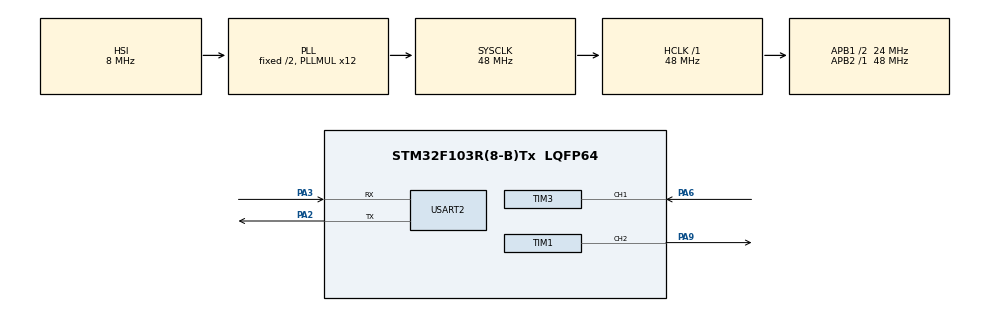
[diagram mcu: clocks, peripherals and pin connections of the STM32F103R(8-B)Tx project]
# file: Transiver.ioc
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Mcu.Family=STM32F1
Mcu.Name=STM32F103R(8-B)Tx
Mcu.Package=LQFP64
NVIC.PriorityGroup=NVIC_PRIORITYGROUP_4
NVIC.TIM3_IRQn=true\:0\:0\:false\:false\:true\:true\:true
PA2.Mode=Asynchronous
PA2.Signal=USART2_TX
PA3.Mode=Asynchronous
PA3.Signal=USART2_RX
PA6.Signal=S_TIM3_CH1
PA9.Signal=S_TIM1_CH2
ProjectManager.HeapSize=0x200
ProjectManager.StackSize=0x400
ProjectManager.TargetToolchain=STM32CubeIDE
RCC.AHBFreq_Value=48000000
RCC.APB1CLKDivider=RCC_HCLK_DIV2
RCC.APB1Freq_Value=24000000
RCC.APB1TimFreq_Value=48000000
RCC.APB2Freq_Value=48000000
RCC.APB2TimFreq_Value=48000000
RCC.HCLKFreq_Value=48000000
RCC.PLLMUL=RCC_PLL_MUL12
RCC.SYSCLKFreq_VALUE=48000000
RCC.SYSCLKSource=RCC_SYSCLKSOURCE_PLLCLK
RCC.USBFreq_Value=48000000
SH.S_TIM1_CH2.0=TIM1_CH2,PWM Generation2 CH2
SH.S_TIM3_CH1.0=TIM3_CH1,Input_Capture1_from_TI1
TIM1.Channel-PWM\ Generation2\ CH2=TIM_CHANNEL_2
TIM1.Prescaler=1-1
TIM2.Prescaler=1-1
TIM3.Channel-Input_Capture1_from_TI1=TIM_CHANNEL_1
TIM3.Channel-Input_Capture2_from_TI1_63=TIM_CHANNEL_2
TIM3.ICPolarity_CH1=TIM_INPUTCHANNELPOLARITY_FALLING
TIM3.Prescaler=1-1
USART2.VirtualMode=VM_ASYNC
VP_SYS_VS_ND.Mode=No_Debug
VP_TIM1_VS_ClockSourceINT.Mode=Internal
VP_TIM2_VS_ClockSourceINT.Mode=Internal
VP_TIM3_VS_ClockSourceINT.Mode=Internal
VP_TIM3_VS_indirect_ch1.Mode=Input_Capture2_from_TI1_63
board=custom

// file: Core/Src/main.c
/* USER CODE BEGIN Header */
/**
 ******************************************************************************
 * @file           : main.c
 * @brief          : Main program body
 ******************************************************************************
 * @attention
 *
 * Copyright (c) 2022 STMicroelectronics.
 * All rights reserved.
 *
 * This software is licensed under terms that can be found in the LICENSE file
 * in the root directory of this software component.
 * If no LICENSE file comes with this software, it is provided AS-IS.
 *
 ******************************************************************************
 */
/* USER CODE END Header */
#include "main.h"

/* USER CODE BEGIN Includes */
#include <string.h>
#include <stdlib.h>

/* USER CODE END Includes */

/* USER CODE BEGIN PD */
#define T 5000
#define COUNTER 5000
#define SYN 22
#define ACK 6

/* USER CODE END PD */

TIM_HandleTypeDef htim1;
TIM_HandleTypeDef htim2;
TIM_HandleTypeDef htim3;

UART_HandleTypeDef huart2;

void SystemClock_Config(void);
static void MX_GPIO_Init(void);
static void MX_TIM1_Init(void);
static void MX_TIM2_Init(void);
static void MX_USART2_UART_Init(void);
static void MX_TIM3_Init(void);
/* USER CODE BEGIN PFP */

void output(char *string) {
	char *buf = string;
	HAL_UART_Transmit(&huart2, (uint8_t*) buf, strlen(buf), 100);
}

/*
 * <------------- TRANSIVER CODE ----------------->
 */

void togglepin(uint8_t value);
void delay(int delay);

void dec_to_bin(char ch) {
	for (char div = 128; div > 0; div /= 2) {
		if (ch >= div) {    // 1
			ch -= div;
			togglepin(1);
//			output("1");
		} else {
			togglepin(0);
//			output("0");
		}
	}
	delay(T);
}

// This function provides delay (in 20 nanoseconds)
void delay(int delay) {
	if (delay > 0xFFFF)
		delay = 0xFFFF;
	(&htim2)->Instance->CNT = 0;
	while ((&htim2)->Instance->CNT < delay)
		;
}

void togglepin(uint8_t value) {
	//	turning off pin
	TIM1->CCR2 = 0;
	TIM1->CNT = COUNTER;
	if (value == 1) {
		delay(T * 0.8);
		//	turning on pin
		TIM1->CCR2 = COUNTER + 1;
		TIM1->CNT = COUNTER;
		delay(T * 0.2);
	} else if (value == 0) {
		delay(T * 0.2);
		//	turning on pin
		TIM1->CCR2 = COUNTER + 1;
		TIM1->CNT = COUNTER;
		delay(T * 0.8);
	} else
		return;
}

/*
 * <-------------------- END TRANSIVER CODE ----------->
 */

/*
 * <-------------------- RECIVER CODE ----------------->
 */

int byte[2] = { 0 };
int byte_count = 0;
// use in CaptureCallback, PeriodElepsed and other functions
int callback_count = 0;
int bit_count = 0;
int *bit;

/*
 * SYN -->
 * SYN, ACK <--
 * ACK -->
 */
int connect(void) {

	int connection = 0;
	dec_to_bin(SYN);
	output("First transmission\r\n");
	delay(10 * T);

	// Turning off transmitter timers
	HAL_TIM_PWM_Stop(&htim1, TIM_CHANNEL_2);

	// Turning on receive timers
	TIM3->ARR = T;
	HAL_TIM_IC_Start_IT(&htim3, TIM_CHANNEL_1);
	HAL_TIM_IC_Start_IT(&htim3, TIM_CHANNEL_2);
	HAL_TIM_Base_Start_IT(&htim3);

	delay(10 * T);

	// wait time for 2 byte -> 20 T
	// to take SYN and ACK from receiver
	for (int i = 0; byte_count < 2 && i < 20; i++) {
		delay(T);
	}

//	char buf[128] = { 0 };
//	sprintf(buf, "%d - byte\r\n", byte_count);
//	HAL_UART_Transmit(&huart2, buf, strlen(buf), -1);

	// Turning off reciver timers
	HAL_TIM_IC_Stop_IT(&htim3, TIM_CHANNEL_1);
	HAL_TIM_IC_Stop_IT(&htim3, TIM_CHANNEL_2);
	HAL_TIM_Base_Stop_IT(&htim3);
	delay(10 * T);

	// Turning on transive timers
	TIM1->CCR2 = COUNTER + 1;
	TIM1->CNT = COUNTER;
	HAL_TIM_PWM_Start(&htim1, TIM_CHANNEL_2);
	delay(10 * T);

	if (byte[0] == SYN && byte[1] == ACK) {
		byte_count = 0;
		byte[0] = byte[1] = 0;
		connection = 1;
		output("Device connected\r\n");
		dec_to_bin(ACK);
	} else {
		byte_count = 0;
		byte[0] = byte[1] = 0;
		output("Connection was failed\r\n");
		connection = 0;
	}
	delay(10 * T);
	return connection;
}

void HAL_TIM_IC_CaptureCallback(TIM_HandleTypeDef *htim) {
	if (htim == &htim3) {
		int falling_edge = 0;
		int rising_edge = 0;
//		char buf_1[128] = { 0 };
//		output("from callback");

		callback_count += 1;

		falling_edge = HAL_TIM_ReadCapturedValue(&htim3, TIM_CHANNEL_1);
		rising_edge = HAL_TIM_ReadCapturedValue(&htim3, TIM_CHANNEL_2);
//		sprintf(buf_1, "r - %d f - %d c - %d\r\n", rising_edge, falling_edge, callback_count);
//		HAL_UART_Transmit(&huart2, &buf_1, strlen(buf_1), -1);
		if (callback_count % 2 != 0 && callback_count != 1) {
			int period = rising_edge + falling_edge;
			if (period < T * 1.2 && period > T * 0.8) { // 10% gap for period
//				char buf_2[128] = { 0 };
//				sprintf(buf_2, "r - %d\r\n", rising_edge);
//				HAL_UART_Transmit(&huart2, &buf_2, strlen(buf_2), -1);
				bit[bit_count] = rising_edge;
			}
			bit_count += 1;
		}
		TIM3->CNT = 0;
		TIM2->CNT = 0;
	}
}

void HAL_TIM_PeriodElapsedCallback(TIM_HandleTypeDef *htim) {
	if (htim == &htim3) { // reading last bite of byte
//		output("In elapse\r\n");
		if (bit_count == 7 && callback_count > 1) {
			char buf[64] = { 0 };
//			output("In elapse\r\n");

//			sprintf(buf, "r - %d\r\n", HAL_TIM_ReadCapturedValue(&htim2, TIM_CHANNEL_2));
//			HAL_UART_Transmit(&huart2, &buf, strlen(buf), -1);

			bit[bit_count] = HAL_TIM_ReadCapturedValue(&htim3, TIM_CHANNEL_2);
			display_pwm_information(bit);

			bit_count = 0;
			callback_count = 0;
//			connect = 1;
		} else if (callback_count > 1 && bit_count < 7) { // when caught less then 8 bit before IDEL give message about lost bytes
			output("#LOST BYTE#");
			if (callback_count % 2 != 0) {
				output("_1_\r\n"); // start_finish_connection
				bit_count = 0;
				callback_count = 0;
//				start_finish_connection();
			} else {
				bit_count = 0;
				callback_count = 0;
			}
		} else if (callback_count == 1) { // turning on/off transiver state of channel change 0V -> 3.3V / 3.3V -> 0V
			output("_2_\r\n"); // start_finish_connection
			bit_count = 0;
			callback_count = 0;
//			start_finish_connection();
		} else
			// TIM run function every period ending
			return;
	}
}

char rises_to_char(int*);

/* function display information from pwm signal to user with UART
 *
 * receives int array contain 8 rising times
 * convert rising times to char and display it
 *
 */

void display_pwm_information(int *bit) {
	byte[byte_count] = rises_to_char(bit);
	byte_count += 1;
//	HAL_UART_Transmit(&huart2, (uint8_t*) &ch, 1, -1);
}

/* function return char from 8 rising times array
 * bit - pointer to 8 rising times array contain 8 bits
 * If rising time more then 50% period then this is a 1, else 0
 */
char rises_to_char(int *bit) {
	char c = 0;
	for (int i = 0, rank = 128; i < 8 && rank > 0; i++, rank /= 2) {
		if (bit[i] > T * 0.5)
			c += rank;
	}
	return c;
}

/*
 * <-------------------- END RECIVER CODE ----------->
 */

/* USER CODE END PFP */

int main(void) {

	/* MCU Configuration--------------------------------------------------------*/

	/* Reset of all peripherals, Initializes the Flash interface and the Systick. */
	HAL_Init();

	/* Configure the system clock */
	SystemClock_Config();

	/* Initialize all configured peripherals */
	MX_GPIO_Init();
	MX_TIM1_Init();
	MX_TIM2_Init();
	MX_USART2_UART_Init();
	MX_TIM3_Init();
	/* USER CODE BEGIN 2 */

	// channel state 0V
	TIM1->ARR = COUNTER;
	TIM1->CCR2 = 0;

	HAL_TIM_PWM_Start(&htim1, TIM_CHANNEL_2);

	HAL_TIM_Base_Start(&htim2);

	/* USER CODE END 2 */

	/* Infinite loop */
	/* USER CODE BEGIN WHILE */
//	char buf[] = "Hello\r\n";
	char buf[] = "Hello world!\r\nBetter late than never\r\n"
			"Hang in there\r\nMake a long story short\r\n"
			"Good things come to those who wait\r\n"
			"\r\n\nThe machines rose from the ashes of the nuclear fire.\r\n"
			"Their war to exterminate mankind has raged for decades,\r\n"
			"but the final battle would not be fought in the future.\r\n"
			"It would be fought here, in our present. Tonight.\r\n";
	//  Hang in there\r\nMake a long story short\r\n
//	char enter[] = "\r\n\n";
//	char ch = 'l';

	output("I'm still alive\r\n\n");

	bit = calloc(8, sizeof(int));
	if (bit == NULL) {
		char exit[] = "Memory end\r\n";
		HAL_UART_Transmit(&huart2, (uint8_t*) exit, strlen(exit), -1);
		return 1;
	}

	HAL_Delay(1000);

	int connection = 0;

	while (1) {

//		 turning on channel
		// channel state 0V -> 3.3V
		TIM1->CCR2 = COUNTER + 1;
		TIM1->CNT = COUNTER;
		HAL_Delay(1000);
		while (connection != 1) {
			connection = connect();
			HAL_Delay(100);
		}

		output("Start transmission\r\n");
		HAL_Delay(1000);
//		HAL_UART_Transmit(&huart2, &buf, strlen(buf), -1);
		// information transmission
		for (int i = 0; i < strlen(buf); i++) {
			dec_to_bin(buf[i]);
		}
		// end of data transmission channel state still 3.3V
		HAL_Delay(1000);

		// turning off channel 3.3V -> 0V
		TIM1->CCR2 = 0;
		TIM1->CNT = COUNTER;
		connection = 0;
		HAL_Delay(1000);

		/* USER CODE END WHILE */

	}
}

void SystemClock_Config(void) {
	RCC_OscInitTypeDef RCC_OscInitStruct = { 0 };
	RCC_ClkInitTypeDef RCC_ClkInitStruct = { 0 };

	/** Initializes the RCC Oscillators according to the specified parameters
	 * in the RCC_OscInitTypeDef structure.
	 */
	RCC_OscInitStruct.OscillatorType = RCC_OSCILLATORTYPE_HSI;
	RCC_OscInitStruct.HSIState = RCC_HSI_ON;
	RCC_OscInitStruct.HSICalibrationValue = RCC_HSICALIBRATION_DEFAULT;
	RCC_OscInitStruct.PLL.PLLState = RCC_PLL_ON;
	RCC_OscInitStruct.PLL.PLLSource = RCC_PLLSOURCE_HSI_DIV2;
	RCC_OscInitStruct.PLL.PLLMUL = RCC_PLL_MUL12;
	if (HAL_RCC_OscConfig(&RCC_OscInitStruct) != HAL_OK) {
		Error_Handler();
	}
	/** Initializes the CPU, AHB and APB buses clocks
	 */
	RCC_ClkInitStruct.ClockType = RCC_CLOCKTYPE_HCLK | RCC_CLOCKTYPE_SYSCLK
			| RCC_CLOCKTYPE_PCLK1 | RCC_CLOCKTYPE_PCLK2;
	RCC_ClkInitStruct.SYSCLKSource = RCC_SYSCLKSOURCE_PLLCLK;
	RCC_ClkInitStruct.AHBCLKDivider = RCC_SYSCLK_DIV1;
	RCC_ClkInitStruct.APB1CLKDivider = RCC_HCLK_DIV2;
	RCC_ClkInitStruct.APB2CLKDivider = RCC_HCLK_DIV1;

	if (HAL_RCC_ClockConfig(&RCC_ClkInitStruct, FLASH_LATENCY_1) != HAL_OK) {
		Error_Handler();
	}
}

static void MX_TIM1_Init(void) {

	TIM_ClockConfigTypeDef sClockSourceConfig = { 0 };
	TIM_MasterConfigTypeDef sMasterConfig = { 0 };
	TIM_OC_InitTypeDef sConfigOC = { 0 };
	TIM_BreakDeadTimeConfigTypeDef sBreakDeadTimeConfig = { 0 };

	htim1.Instance = TIM1;
	htim1.Init.Prescaler = 12 - 1;
	htim1.Init.CounterMode = TIM_COUNTERMODE_UP;
	htim1.Init.Period = 65535;
	htim1.Init.ClockDivision = TIM_CLOCKDIVISION_DIV1;
	htim1.Init.RepetitionCounter = 0;
	htim1.Init.AutoReloadPreload = TIM_AUTORELOAD_PRELOAD_DISABLE;
	if (HAL_TIM_Base_Init(&htim1) != HAL_OK) {
		Error_Handler();
	}
	sClockSourceConfig.ClockSource = TIM_CLOCKSOURCE_INTERNAL;
	if (HAL_TIM_ConfigClockSource(&htim1, &sClockSourceConfig) != HAL_OK) {
		Error_Handler();
	}
	if (HAL_TIM_PWM_Init(&htim1) != HAL_OK) {
		Error_Handler();
	}
	sMasterConfig.MasterOutputTrigger = TIM_TRGO_RESET;
	sMasterConfig.MasterSlaveMode = TIM_MASTERSLAVEMODE_DISABLE;
	if (HAL_TIMEx_MasterConfigSynchronization(&htim1, &sMasterConfig)
			!= HAL_OK) {
		Error_Handler();
	}
	sConfigOC.OCMode = TIM_OCMODE_PWM1;
	sConfigOC.Pulse = 0;
	sConfigOC.OCPolarity = TIM_OCPOLARITY_HIGH;
	sConfigOC.OCNPolarity = TIM_OCNPOLARITY_HIGH;
	sConfigOC.OCFastMode = TIM_OCFAST_DISABLE;
	sConfigOC.OCIdleState = TIM_OCIDLESTATE_RESET;
	sConfigOC.OCNIdleState = TIM_OCNIDLESTATE_RESET;
	if (HAL_TIM_PWM_ConfigChannel(&htim1, &sConfigOC, TIM_CHANNEL_2)
			!= HAL_OK) {
		Error_Handler();
	}
	sBreakDeadTimeConfig.OffStateRunMode = TIM_OSSR_DISABLE;
	sBreakDeadTimeConfig.OffStateIDLEMode = TIM_OSSI_DISABLE;
	sBreakDeadTimeConfig.LockLevel = TIM_LOCKLEVEL_OFF;
	sBreakDeadTimeConfig.DeadTime = 0;
	sBreakDeadTimeConfig.BreakState = TIM_BREAK_DISABLE;
	sBreakDeadTimeConfig.BreakPolarity = TIM_BREAKPOLARITY_HIGH;
	sBreakDeadTimeConfig.AutomaticOutput = TIM_AUTOMATICOUTPUT_DISABLE;
	if (HAL_TIMEx_ConfigBreakDeadTime(&htim1, &sBreakDeadTimeConfig)
			!= HAL_OK) {
		Error_Handler();
	}
	HAL_TIM_MspPostInit(&htim1);

}

static void MX_TIM2_Init(void) {

	TIM_ClockConfigTypeDef sClockSourceConfig = { 0 };
	TIM_MasterConfigTypeDef sMasterConfig = { 0 };

	htim2.Instance = TIM2;
	htim2.Init.Prescaler = 12 - 1;
	htim2.Init.CounterMode = TIM_COUNTERMODE_UP;
	htim2.Init.Period = 65535;
	htim2.Init.ClockDivision = TIM_CLOCKDIVISION_DIV1;
	htim2.Init.AutoReloadPreload = TIM_AUTORELOAD_PRELOAD_DISABLE;
	if (HAL_TIM_Base_Init(&htim2) != HAL_OK) {
		Error_Handler();
	}
	sClockSourceConfig.ClockSource = TIM_CLOCKSOURCE_INTERNAL;
	if (HAL_TIM_ConfigClockSource(&htim2, &sClockSourceConfig) != HAL_OK) {
		Error_Handler();
	}
	sMasterConfig.MasterOutputTrigger = TIM_TRGO_RESET;
	sMasterConfig.MasterSlaveMode = TIM_MASTERSLAVEMODE_DISABLE;
	if (HAL_TIMEx_MasterConfigSynchronization(&htim2, &sMasterConfig)
			!= HAL_OK) {
		Error_Handler();
	}

}

static void MX_TIM3_Init(void) {

	TIM_ClockConfigTypeDef sClockSourceConfig = { 0 };
	TIM_MasterConfigTypeDef sMasterConfig = { 0 };
	TIM_IC_InitTypeDef sConfigIC = { 0 };

	htim3.Instance = TIM3;
	htim3.Init.Prescaler = 12 - 1;
	htim3.Init.CounterMode = TIM_COUNTERMODE_UP;
	htim3.Init.Period = 65535;
	htim3.Init.ClockDivision = TIM_CLOCKDIVISION_DIV1;
	htim3.Init.AutoReloadPreload = TIM_AUTORELOAD_PRELOAD_DISABLE;
	if (HAL_TIM_Base_Init(&htim3) != HAL_OK) {
		Error_Handler();
	}
	sClockSourceConfig.ClockSource = TIM_CLOCKSOURCE_INTERNAL;
	if (HAL_TIM_ConfigClockSource(&htim3, &sClockSourceConfig) != HAL_OK) {
		Error_Handler();
	}
	if (HAL_TIM_IC_Init(&htim3) != HAL_OK) {
		Error_Handler();
	}
	sMasterConfig.MasterOutputTrigger = TIM_TRGO_RESET;
	sMasterConfig.MasterSlaveMode = TIM_MASTERSLAVEMODE_DISABLE;
	if (HAL_TIMEx_MasterConfigSynchronization(&htim3, &sMasterConfig)
			!= HAL_OK) {
		Error_Handler();
	}
	sConfigIC.ICPolarity = TIM_INPUTCHANNELPOLARITY_FALLING;
	sConfigIC.ICSelection = TIM_ICSELECTION_DIRECTTI;
	sConfigIC.ICPrescaler = TIM_ICPSC_DIV1;
	sConfigIC.ICFilter = 0;
	if (HAL_TIM_IC_ConfigChannel(&htim3, &sConfigIC, TIM_CHANNEL_1) != HAL_OK) {
		Error_Handler();
	}
	sConfigIC.ICPolarity = TIM_INPUTCHANNELPOLARITY_RISING;
	sConfigIC.ICSelection = TIM_ICSELECTION_INDIRECTTI;
	if (HAL_TIM_IC_ConfigChannel(&htim3, &sConfigIC, TIM_CHANNEL_2) != HAL_OK) {
		Error_Handler();
	}

}

static void MX_USART2_UART_Init(void) {

	huart2.Instance = USART2;
	huart2.Init.BaudRate = 115200;
	huart2.Init.WordLength = UART_WORDLENGTH_8B;
	huart2.Init.StopBits = UART_STOPBITS_1;
	huart2.Init.Parity = UART_PARITY_NONE;
	huart2.Init.Mode = UART_MODE_TX_RX;
	huart2.Init.HwFlowCtl = UART_HWCONTROL_NONE;
	huart2.Init.OverSampling = UART_OVERSAMPLING_16;
	if (HAL_UART_Init(&huart2) != HAL_OK) {
		Error_Handler();
	}

}

static void MX_GPIO_Init(void) {

	/* GPIO Ports Clock Enable */
	__HAL_RCC_GPIOA_CLK_ENABLE();

}

void Error_Handler(void) {
	__disable_irq();
	while (1) {
	}
}
